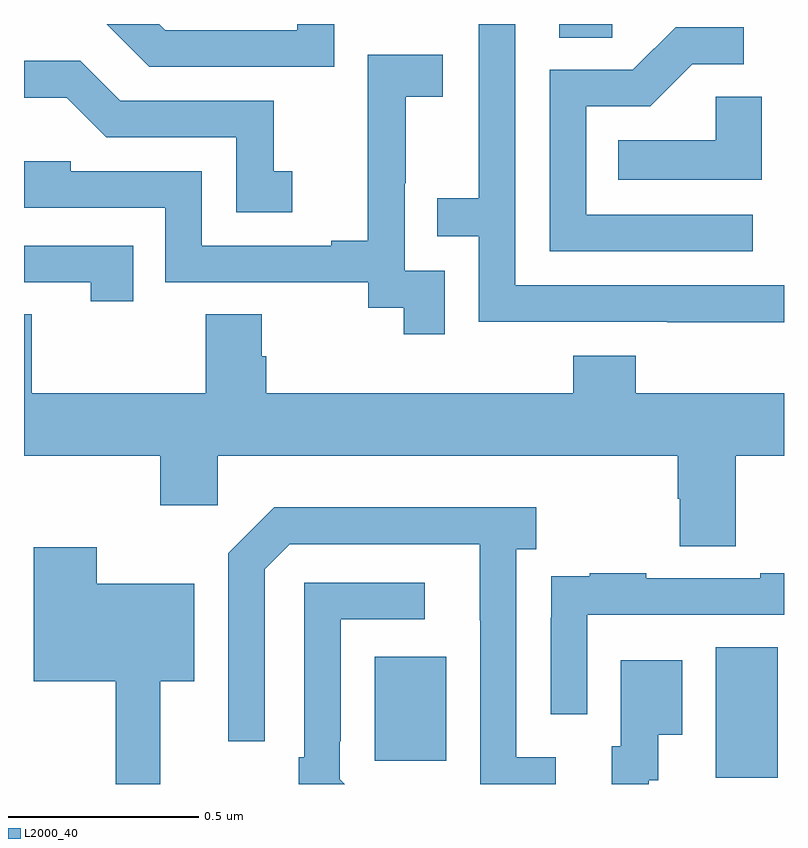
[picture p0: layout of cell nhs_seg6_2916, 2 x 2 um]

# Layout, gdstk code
import gdstk
lib = gdstk.Library(unit=1e-6, precision=1e-09)
def R(c, l, rs):  # rectangles x0, y0, x1, y1
    for r in rs: c.add(gdstk.rectangle(r[:2], r[2:], *l))
def P(c, l, *ps):  # polygons
    for p in ps: c.add(gdstk.Polygon(p, *l))
L2000_40 = (2000, 40)

nhs_seg6_2916 = lib.new_cell('nhs_seg6_2916')
R(nhs_seg6_2916, L2000_40, [(151.82,918.517,151.984,918.86), (150.923,918.561,151.111,918.835), (151.409,920.464,151.548,920.5)])
P(nhs_seg6_2916, L2000_40, [(152,919.812),(151.293,919.812),(151.293,920.5),(151.197,920.5),(151.197,920.042),(151.087,920.042),(151.087,919.941),(151.197,919.941),(151.197,919.716),(151.693,919.716),(151.693,919.715),(152,919.715)],
  [(150.816,920.5),(150.719,920.5),(150.719,920.484),(150.372,920.484),(150.356,920.5),(150.218,920.5),(150.33,920.388),(150.816,920.388)],
  [(151.918,919.998),(151.479,919.998),(151.479,920.283),(151.648,920.283),(151.759,920.394),(151.894,920.394),(151.894,920.492),(151.715,920.492),(151.602,920.379),(151.383,920.379),(151.383,919.902),(151.918,919.902)],
  [(151.107,919.851),(151.002,919.851),(151.002,920.081),(151.004,920.081),(151.004,920.309),(151.102,920.309),(151.102,920.419),(150.904,920.419),(150.904,920.213),(150.905,920.213),(150.905,919.93),(150.809,919.93),(150.809,919.917),(150.468,919.917),(150.468,920.112),(150.123,920.112),(150.123,920.139),(150,920.139),(150,920.016),(150.372,920.016),(150.372,919.821),(150.906,919.821),(150.906,919.753),(150.999,919.753),(150.999,919.683),(151.107,919.683)],
  [(150.706,920.113),(150.657,920.113),(150.657,920.298),(150.253,920.298),(150.148,920.403),(150,920.403),(150,920.306),(150.112,920.306),(150.216,920.202),(150.558,920.202),(150.558,920.004),(150.706,920.004)],
  [(151.942,920.309),(151.821,920.309),(151.821,920.194),(151.564,920.194),(151.564,920.09),(151.942,920.09)],
  [(150.287,919.917),(150,919.917),(150,919.821),(150.176,919.821),(150.176,919.77),(150.287,919.77)],
  [(151.873,919.364),(152,919.364),(152,919.528),(151.61,919.528),(151.61,919.627),(151.445,919.627),(151.445,919.528),(150.638,919.528),(150.638,919.626),(150.625,919.626),(150.625,919.736),(150.478,919.736),(150.478,919.528),(150.021,919.528),(150.021,919.736),(150,919.736),(150,919.364),(150.359,919.364),(150.359,919.233),(150.51,919.233),(150.51,919.364),(151.721,919.364),(151.721,919.251),(151.726,919.251),(151.726,919.126),(151.873,919.126)],
  [(151.399,918.57),(151.296,918.57),(151.296,919.118),(151.348,919.118),(151.348,919.228),(150.658,919.228),(150.537,919.107),(150.537,918.612),(150.633,918.612),(150.633,919.065),(150.699,919.131),(151.199,919.131),(151.199,918.931),(151.2,918.931),(151.2,918.5),(151.399,918.5)],
  [(150.359,918.77),(150.448,918.77),(150.448,919.027),(150.192,919.027),(150.192,919.123),(150.026,919.123),(150.026,918.77),(150.241,918.77),(150.241,918.5),(150.359,918.5)],
  [(151.482,918.945),(152,918.945),(152,919.054),(151.937,919.054),(151.937,919.041),(151.637,919.041),(151.637,919.054),(151.489,919.054),(151.489,919.047),(151.387,919.047),(151.387,918.938),(151.386,918.938),(151.386,918.684),(151.482,918.684)],
  [(150.831,918.513),(150.831,918.613),(150.834,918.613),(150.834,918.933),(151.054,918.933),(151.054,919.029),(150.738,919.029),(150.738,918.571),(150.723,918.571),(150.723,918.5),(150.844,918.5)],
  [(151.644,918.51),(151.669,918.51),(151.669,918.629),(151.732,918.629),(151.732,918.826),(151.571,918.826),(151.571,918.6),(151.547,918.6),(151.547,918.5),(151.644,918.5)])

lib.write_gds('nhs_seg6_2916.gds')
